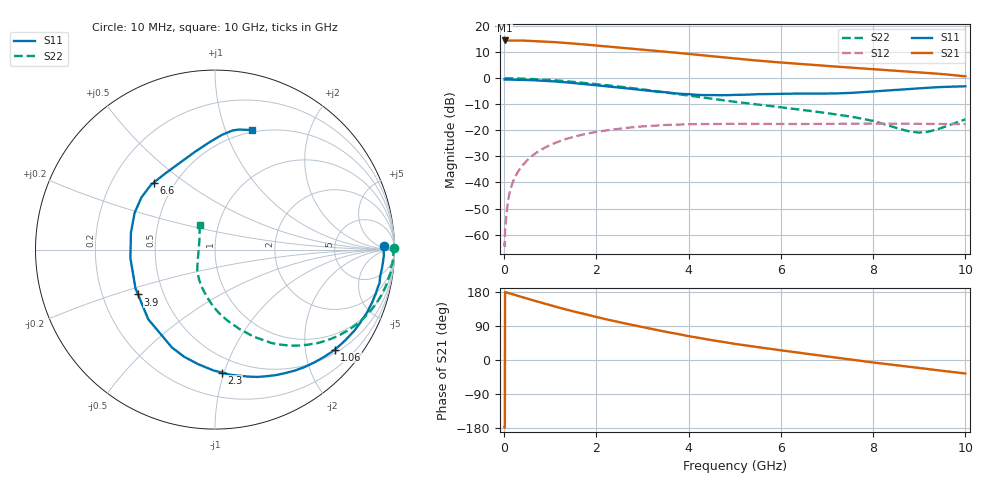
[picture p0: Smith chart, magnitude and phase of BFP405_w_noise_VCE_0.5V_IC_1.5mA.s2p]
! Infineon Technologies  Discrete & RF Semiconductors
! BFP405
! VCE =  0.5 V,  IC =  1.5 mA
! Common Emitter S-Parameters:  Jan 2016
# GHz  S  MA  R  50
!  f  S11  S21  S12  S22
! GHz  MAG  ANG  MAG  ANG  MAG  ANG  MAG  ANG
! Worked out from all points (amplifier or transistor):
!   233 points, 10 MHz to 10 GHz, reference 50 ohm
!   highest |S21| = 14.5 dB at 10 MHz (marker M1)
!   |S21| within 3 dB of that: start of sweep to 2.69 GHz
!   unconditionally stable (mu >= 1): 4.587 GHz to end of sweep
!   at 200 MHz: K = 0.03, MSG = 26.9 dB, |S12| = -39.4 dB
!   at 1.74 GHz: K = 0.31, MSG = 17.2 dB, |S12| = -21.5 dB
!   at 10 GHz: K = 1.84, MAG = 3.9 dB, |S12| = -17.6 dB
!   lowest NFmin = 0.79 dB at 900 MHz
!   S11 on the Smith chart (normalised r, x): 10 MHz: 30, +10; 1.06 GHz: 0.58, -2.64; 2.3 GHz: 0.38, -0.98; 3.9 GHz: 0.36, -0.24; 6.6 GHz: 0.38, +0.38; 10 GHz: 0.48, +1.25
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0.01  0.9419 1.1  5.281 -176.9  0.0007 -4.7  0.9997 0.6
0.015  0.9406 0.3  5.252 -178.8  0.0006 61.5  0.9955 0.3
0.02  0.9396 -0.6  5.228 179.3  0.0012 93.8  0.9913 0.0
0.09  0.9394 -3.5  5.254 176.8  0.0047 87.6  0.9945 -2.0
0.24  0.9324 -8.9  5.274 171.4  0.0128 84.7  0.9842 -5.8
0.52  0.9218 -19.5  5.2 161.4  0.0278 78.4  0.9721 -12.3
0.8  0.8982 -30.2  5.08 151.4  0.0423 72.0  0.9459 -18.7
1.06  0.8687 -39.9  4.929 142.5  0.0552 65.9  0.9133 -24.5
1.38  0.825 -52.0  4.704 132.0  0.0697 58.6  0.867 -31.2
1.68  0.7804 -63.2  4.479 122.8  0.0819 52.1  0.82 -37.0
2  0.7312 -75.4  4.236 113.3  0.0932 45.5  0.7696 -42.7
2.3  0.6864 -86.8  4.01 105.1  0.1022 39.7  0.7208 -47.7
2.96  0.5996 -112.3  3.564 87.8  0.118 28.0  0.6162 -58.1
3.4  0.5432 -129.6  3.277 77.1  0.1247 20.8  0.5463 -64.4
3.9  0.4963 -149.8  2.973 65.4  0.1298 13.5  0.4745 -71.5
4.5  0.4737 -174.3  2.641 52.3  0.1328 5.7  0.4013 -80.1
5.1  0.4787 165.9  2.337 40.9  0.1329 -0.7  0.3439 -87.7
6.6  0.5059 132.5  1.823 15.8  0.1322 -11.6  0.2376 -105.6
6.8  0.5047 128.0  1.766 12.6  0.1324 -12.8  0.2252 -108.3
8.4  0.5894 94.6  1.4 -12.3  0.1341 -23.2  0.1188 -144.6
9  0.6407 86.5  1.287 -21.0  0.1331 -26.5  0.0904 175.3
10  0.698 72.6  1.084 -35.7  0.1313 -30.7  0.1619 122.2
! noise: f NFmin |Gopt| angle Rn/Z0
0.9  0.79  0.64  15  0.47
1.8  1.18  0.51  29  0.42
2.4  1.41  0.42  40  0.39
3  1.48  0.42  55  0.36
4  1.72  0.3  82  0.27
5  2.06  0.26  118  0.21
